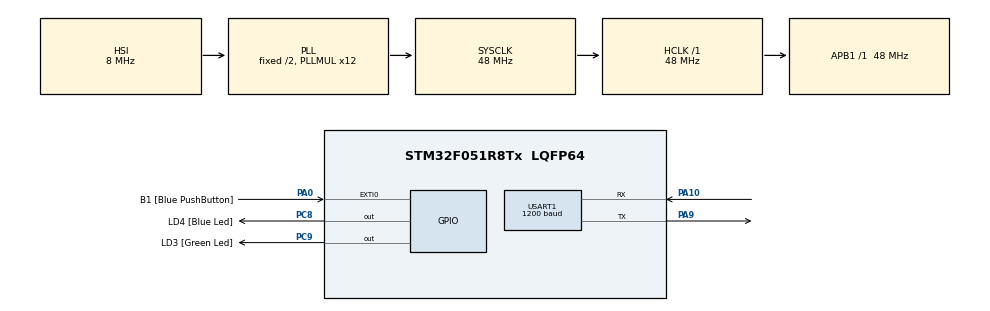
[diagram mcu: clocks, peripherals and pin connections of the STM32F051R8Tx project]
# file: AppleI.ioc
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Mcu.Family=STM32F0
Mcu.Name=STM32F051R8Tx
Mcu.Package=LQFP64
NVIC.USART1_IRQn=true\:0\:0\:false\:false\:true\:true\:true\:true
PA0.GPIO_Label=B1 [Blue PushButton]
PA0.GPIO_ModeDefaultEXTI=GPIO_MODE_EVT_RISING
PA0.Signal=GPXTI0
PA10.Mode=Asynchronous
PA10.Signal=USART1_RX
PA13.GPIO_Label=SWDIO
PA13.Mode=Serial_Wire
PA13.Signal=SYS_SWDIO
PA14.GPIO_Label=SWCLK
PA14.Mode=Serial_Wire
PA14.Signal=SYS_SWCLK
PA9.Mode=Asynchronous
PA9.Signal=USART1_TX
PC8.GPIO_Label=LD4 [Blue Led]
PC8.Signal=GPIO_Output
PC9.GPIO_Label=LD3 [Green Led]
PC9.Signal=GPIO_Output
ProjectManager.HeapSize=0x200
ProjectManager.StackSize=0x400
ProjectManager.TargetToolchain=STM32CubeIDE
RCC.AHBFreq_Value=48000000
RCC.APB1Freq_Value=48000000
RCC.APB1TimFreq_Value=48000000
RCC.HCLKFreq_Value=48000000
RCC.PLLMUL=RCC_PLL_MUL12
RCC.SYSCLKFreq_VALUE=48000000
RCC.SYSCLKSource=RCC_SYSCLKSOURCE_PLLCLK
USART1.BaudRate=1200
USART1.VirtualMode-Asynchronous=VM_ASYNC
board=STM32F0DISCOVERY

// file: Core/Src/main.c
/* USER CODE BEGIN Header */
/**
  ******************************************************************************
  * @file           : main.c
  * @brief          : Main program body
  ******************************************************************************
  * @attention
  *
  * Copyright (c) 2024 STMicroelectronics.
  * All rights reserved.
  *
  * This software is licensed under terms that can be found in the LICENSE file
  * in the root directory of this software component.
  * If no LICENSE file comes with this software, it is provided AS-IS.
  *
  ******************************************************************************
  */
/* USER CODE END Header */
#include "main.h"

/* USER CODE BEGIN PD */
#define ROM_BASE_ADDRESS 0xff00
#define RAM_SIZE 0x0c00//0x1000
#define BASIC_ROM_BASE_ADDRESS 0xe000
//#define BASIC_ROM_SIZE 4096

#define KBD_DATA_PORT_ADDRESS 0xd010
#define KBD_CONTROL_REGISTER_PORT_ADDRESS 0xd011
#define DSP_DATA_PORT_ADDRESS 0xd012
#define DSP_CONTROL_REGISTER_PORT_ADDRESS 0xd013

#define UART_RX_BUFFER_SIZE 1
#define CIRCULAR_BUFFER_SIZE 1024
/* USER CODE END PD */

UART_HandleTypeDef huart1;

/* USER CODE BEGIN PV */
// array size is 256
static const uint8_t hexMonitorRom[]  = {
  0xd8, 0x58, 0xa0, 0x7f, 0x8c, 0x12, 0xd0, 0xa9, 0xa7, 0x8d, 0x11, 0xd0, 0x8d, 0x13, 0xd0, 0xc9,
  0xdf, 0xf0, 0x13, 0xc9, 0x9b, 0xf0, 0x03, 0xc8, 0x10, 0x0f, 0xa9, 0xdc, 0x20, 0xef, 0xff, 0xa9,
  0x8d, 0x20, 0xef, 0xff, 0xa0, 0x01, 0x88, 0x30, 0xf6, 0xad, 0x11, 0xd0, 0x10, 0xfb, 0xad, 0x10,
  0xd0, 0x99, 0x00, 0x02, 0x20, 0xef, 0xff, 0xc9, 0x8d, 0xd0, 0xd4, 0xa0, 0xff, 0xa9, 0x00, 0xaa,
  0x0a, 0x85, 0x2b, 0xc8, 0xb9, 0x00, 0x02, 0xc9, 0x8d, 0xf0, 0xd4, 0xc9, 0xae, 0x90, 0xf4, 0xf0,
  0xf0, 0xc9, 0xba, 0xf0, 0xeb, 0xc9, 0xd2, 0xf0, 0x3b, 0x86, 0x28, 0x86, 0x29, 0x84, 0x2a, 0xb9,
  0x00, 0x02, 0x49, 0xb0, 0xc9, 0x0a, 0x90, 0x06, 0x69, 0x88, 0xc9, 0xfa, 0x90, 0x11, 0x0a, 0x0a,
  0x0a, 0x0a, 0xa2, 0x04, 0x0a, 0x26, 0x28, 0x26, 0x29, 0xca, 0xd0, 0xf8, 0xc8, 0xd0, 0xe0, 0xc4,
  0x2a, 0xf0, 0x97, 0x24, 0x2b, 0x50, 0x10, 0xa5, 0x28, 0x81, 0x26, 0xe6, 0x26, 0xd0, 0xb5, 0xe6,
  0x27, 0x4c, 0x44, 0xff, 0x6c, 0x24, 0x00, 0x30, 0x2b, 0xa2, 0x02, 0xb5, 0x27, 0x95, 0x25, 0x95,
  0x23, 0xca, 0xd0, 0xf7, 0xd0, 0x14, 0xa9, 0x8d, 0x20, 0xef, 0xff, 0xa5, 0x25, 0x20, 0xdc, 0xff,
  0xa5, 0x24, 0x20, 0xdc, 0xff, 0xa9, 0xba, 0x20, 0xef, 0xff, 0xa9, 0xa0, 0x20, 0xef, 0xff, 0xa1,
  0x24, 0x20, 0xdc, 0xff, 0x86, 0x2b, 0xa5, 0x24, 0xc5, 0x28, 0xa5, 0x25, 0xe5, 0x29, 0xb0, 0xc1,
  0xe6, 0x24, 0xd0, 0x02, 0xe6, 0x25, 0xa5, 0x24, 0x29, 0x07, 0x10, 0xc8, 0x48, 0x4a, 0x4a, 0x4a,
  0x4a, 0x20, 0xe5, 0xff, 0x68, 0x29, 0x0f, 0x09, 0xb0, 0xc9, 0xba, 0x90, 0x02, 0x69, 0x06, 0x2c,
  0x12, 0xd0, 0x30, 0xfb, 0x8d, 0x12, 0xd0, 0x60, 0x00, 0x00, 0x00, 0x0f, 0x00, 0xff, 0x00, 0x00
};
// array size is 4096
static const uint8_t basicRom[]  = {
  0x4c, 0xb0, 0xe2, 0xad, 0x11, 0xd0, 0x10, 0xfb, 0xad, 0x10, 0xd0, 0x60, 0x8a, 0x29, 0x20, 0xf0,
  0x23, 0xa9, 0xa0, 0x85, 0xe4, 0x4c, 0xc9, 0xe3, 0xa9, 0x20, 0xc5, 0x24, 0xb0, 0x0c, 0xa9, 0x8d,
  0xa0, 0x07, 0x20, 0xc9, 0xe3, 0xa9, 0xa0, 0x88, 0xd0, 0xf8, 0xa0, 0x00, 0xb1, 0xe2, 0xe6, 0xe2,
  0xd0, 0x02, 0xe6, 0xe3, 0x60, 0x20, 0x15, 0xe7, 0x20, 0x76, 0xe5, 0xa5, 0xe2, 0xc5, 0xe6, 0xa5,
  0xe3, 0xe5, 0xe7, 0xb0, 0xef, 0x20, 0x6d, 0xe0, 0x4c, 0x3b, 0xe0, 0xa5, 0xca, 0x85, 0xe2, 0xa5,
  0xcb, 0x85, 0xe3, 0xa5, 0x4c, 0x85, 0xe6, 0xa5, 0x4d, 0x85, 0xe7, 0xd0, 0xde, 0x20, 0x15, 0xe7,
  0x20, 0x6d, 0xe5, 0xa5, 0xe4, 0x85, 0xe2, 0xa5, 0xe5, 0x85, 0xe3, 0xb0, 0xc7, 0x86, 0xd8, 0xa9,
  0xa0, 0x85, 0xfa, 0x20, 0x2a, 0xe0, 0x98, 0x85, 0xe4, 0x20, 0x2a, 0xe0, 0xaa, 0x20, 0x2a, 0xe0,
  0x20, 0x1b, 0xe5, 0x20, 0x18, 0xe0, 0x84, 0xfa, 0xaa, 0x10, 0x18, 0x0a, 0x10, 0xe9, 0xa5, 0xe4,
  0xd0, 0x03, 0x20, 0x11, 0xe0, 0x8a, 0x20, 0xc9, 0xe3, 0xa9, 0x25, 0x20, 0x1a, 0xe0, 0xaa, 0x30,
  0xf5, 0x85, 0xe4, 0xc9, 0x01, 0xd0, 0x05, 0xa6, 0xd8, 0x4c, 0xcd, 0xe3, 0x48, 0x84, 0xce, 0xa2,
  0xed, 0x86, 0xcf, 0xc9, 0x51, 0x90, 0x04, 0xc6, 0xcf, 0xe9, 0x50, 0x48, 0xb1, 0xce, 0xaa, 0x88,
  0xb1, 0xce, 0x10, 0xfa, 0xe0, 0xc0, 0xb0, 0x04, 0xe0, 0x00, 0x30, 0xf2, 0xaa, 0x68, 0xe9, 0x01,
  0xd0, 0xe9, 0x24, 0xe4, 0x30, 0x03, 0x20, 0xf8, 0xef, 0xb1, 0xce, 0x10, 0x10, 0xaa, 0x29, 0x3f,
  0x85, 0xe4, 0x18, 0x69, 0xa0, 0x20, 0xc9, 0xe3, 0x88, 0xe0, 0xc0, 0x90, 0xec, 0x20, 0x0c, 0xe0,
  0x68, 0xc9, 0x5d, 0xf0, 0xa4, 0xc9, 0x28, 0xd0, 0x8a, 0xf0, 0x9e, 0x20, 0x18, 0xe1, 0x95, 0x50,
  0xd5, 0x78, 0x90, 0x11, 0xa0, 0x2b, 0x4c, 0xe0, 0xe3, 0x20, 0x34, 0xee, 0xd5, 0x50, 0x90, 0xf4,
  0x20, 0xe4, 0xef, 0x95, 0x78, 0x4c, 0x23, 0xe8, 0x20, 0x34, 0xee, 0xf0, 0xe7, 0x38, 0xe9, 0x01,
  0x60, 0x20, 0x18, 0xe1, 0x95, 0x50, 0x18, 0xf5, 0x78, 0x4c, 0x02, 0xe1, 0xa0, 0x14, 0xd0, 0xd6,
  0x20, 0x18, 0xe1, 0xe8, 0xb5, 0x50, 0x85, 0xda, 0x65, 0xce, 0x48, 0xa8, 0xb5, 0x78, 0x85, 0xdb,
  0x65, 0xcf, 0x48, 0xc4, 0xca, 0xe5, 0xcb, 0xb0, 0xe3, 0xa5, 0xda, 0x69, 0xfe, 0x85, 0xda, 0xa9,
  0xff, 0xa8, 0x65, 0xdb, 0x85, 0xdb, 0xc8, 0xb1, 0xda, 0xd9, 0xcc, 0x00, 0xd0, 0x0f, 0x98, 0xf0,
  0xf5, 0x68, 0x91, 0xda, 0x99, 0xcc, 0x00, 0x88, 0x10, 0xf7, 0xe8, 0x60, 0xea, 0xa0, 0x80, 0xd0,
  0x95, 0xa9, 0x00, 0x20, 0x0a, 0xe7, 0xa0, 0x02, 0x94, 0x78, 0x20, 0x0a, 0xe7, 0xa9, 0xbf, 0x20,
  0xc9, 0xe3, 0xa0, 0x00, 0x20, 0x9e, 0xe2, 0x94, 0x78, 0xea, 0xea, 0xea, 0xb5, 0x51, 0x85, 0xce,
  0xb5, 0x79, 0x85, 0xcf, 0xe8, 0xe8, 0x20, 0xbc, 0xe1, 0xb5, 0x4e, 0xd5, 0x76, 0xb0, 0x15, 0xf6,
  0x4e, 0xa8, 0xb1, 0xce, 0xb4, 0x50, 0xc4, 0xe4, 0x90, 0x04, 0xa0, 0x83, 0xd0, 0xc1, 0x91, 0xda,
  0xf6, 0x50, 0x90, 0xe5, 0xb4, 0x50, 0x8a, 0x91, 0xda, 0xe8, 0xe8, 0x60, 0xb5, 0x51, 0x85, 0xda,
  0x38, 0xe9, 0x02, 0x85, 0xe4, 0xb5, 0x79, 0x85, 0xdb, 0xe9, 0x00, 0x85, 0xe5, 0xa0, 0x00, 0xb1,
  0xe4, 0x18, 0xe5, 0xda, 0x85, 0xe4, 0x60, 0xb5, 0x53, 0x85, 0xce, 0xb5, 0x7b, 0x85, 0xcf, 0xb5,
  0x51, 0x85, 0xda, 0xb5, 0x79, 0x85, 0xdb, 0xe8, 0xe8, 0xe8, 0xa0, 0x00, 0x94, 0x78, 0x94, 0xa0,
  0xc8, 0x94, 0x50, 0xb5, 0x4d, 0xd5, 0x75, 0x08, 0x48, 0xb5, 0x4f, 0xd5, 0x77, 0x90, 0x07, 0x68,
  0x28, 0xb0, 0x02, 0x56, 0x50, 0x60, 0xa8, 0xb1, 0xce, 0x85, 0xe4, 0x68, 0xa8, 0x28, 0xb0, 0xf3,
  0xb1, 0xda, 0xc5, 0xe4, 0xd0, 0xed, 0xf6, 0x4f, 0xf6, 0x4d, 0xb0, 0xd7, 0x20, 0xd7, 0xe1, 0x4c,
  0x36, 0xe7, 0x20, 0x54, 0xe2, 0x06, 0xce, 0x26, 0xcf, 0x90, 0x0d, 0x18, 0xa5, 0xe6, 0x65, 0xda,
  0x85, 0xe6, 0xa5, 0xe7, 0x65, 0xdb, 0x85, 0xe7, 0x88, 0xf0, 0x09, 0x06, 0xe6, 0x26, 0xe7, 0x10,
  0xe4, 0x4c, 0x7e, 0xe7, 0xa5, 0xe6, 0x20, 0x08, 0xe7, 0xa5, 0xe7, 0x95, 0xa0, 0x06, 0xe5, 0x90,
  0x28, 0x4c, 0x6f, 0xe7, 0xa9, 0x55, 0x85, 0xe5, 0x20, 0x5b, 0xe2, 0xa5, 0xce, 0x85, 0xda, 0xa5,
  0xcf, 0x85, 0xdb, 0x20, 0x15, 0xe7, 0x84, 0xe6, 0x84, 0xe7, 0xa5, 0xcf, 0x10, 0x09, 0xca, 0x06,
  0xe5, 0x20, 0x6f, 0xe7, 0x20, 0x15, 0xe7, 0xa0, 0x10, 0x60, 0x20, 0x6c, 0xee, 0xf0, 0xc5, 0xff,
  0xc9, 0x84, 0xd0, 0x02, 0x46, 0xf8, 0xc9, 0xdf, 0xf0, 0x11, 0xc9, 0x9b, 0xf0, 0x06, 0x99, 0x00,
  0x02, 0xc8, 0x10, 0x0a, 0xa0, 0x8b, 0x20, 0xc4, 0xe3, 0xa0, 0x01, 0x88, 0x30, 0xf6, 0x20, 0x03,
  0xe0, 0xea, 0xea, 0x20, 0xc9, 0xe3, 0xc9, 0x8d, 0xd0, 0xd6, 0xa9, 0xdf, 0x99, 0x00, 0x02, 0x60,
  0x20, 0xd3, 0xef, 0x20, 0xcd, 0xe3, 0x46, 0xd9, 0xa9, 0xbe, 0x20, 0xc9, 0xe3, 0xa0, 0x00, 0x84,
  0xfa, 0x24, 0xf8, 0x10, 0x0c, 0xa6, 0xf6, 0xa5, 0xf7, 0x20, 0x1b, 0xe5, 0xa9, 0xa0, 0x20, 0xc9,
  0xe3, 0xa2, 0xff, 0x9a, 0x20, 0x9e, 0xe2, 0x84, 0xf1, 0x8a, 0x85, 0xc8, 0xa2, 0x20, 0x20, 0x91,
  0xe4, 0xa5, 0xc8, 0x69, 0x00, 0x85, 0xe0, 0xa9, 0x00, 0xaa, 0x69, 0x02, 0x85, 0xe1, 0xa1, 0xe0,
  0x29, 0xf0, 0xc9, 0xb0, 0xf0, 0x03, 0x4c, 0x83, 0xe8, 0xa0, 0x02, 0xb1, 0xe0, 0x99, 0xcd, 0x00,
  0x88, 0xd0, 0xf8, 0x20, 0x8a, 0xe3, 0xa5, 0xf1, 0xe5, 0xc8, 0xc9, 0x04, 0xf0, 0xa8, 0x91, 0xe0,
  0xa5, 0xca, 0xf1, 0xe0, 0x85, 0xe4, 0xa5, 0xcb, 0xe9, 0x00, 0x85, 0xe5, 0xa5, 0xe4, 0xc5, 0xcc,
  0xa5, 0xe5, 0xe5, 0xcd, 0x90, 0x45, 0xa5, 0xca, 0xf1, 0xe0, 0x85, 0xe6, 0xa5, 0xcb, 0xe9, 0x00,
  0x85, 0xe7, 0xb1, 0xca, 0x91, 0xe6, 0xe6, 0xca, 0xd0, 0x02, 0xe6, 0xcb, 0xa5, 0xe2, 0xc5, 0xca,
  0xa5, 0xe3, 0xe5, 0xcb, 0xb0, 0xe0, 0xb5, 0xe4, 0x95, 0xca, 0xca, 0x10, 0xf9, 0xb1, 0xe0, 0xa8,
  0x88, 0xb1, 0xe0, 0x91, 0xe6, 0x98, 0xd0, 0xf8, 0x24, 0xf8, 0x10, 0x09, 0xb5, 0xf7, 0x75, 0xf5,
  0x95, 0xf7, 0xe8, 0xf0, 0xf7, 0x10, 0x7e, 0x00, 0x00, 0x00, 0x00, 0xa0, 0x14, 0xd0, 0x71, 0x20,
  0x15, 0xe7, 0xa5, 0xe2, 0x85, 0xe6, 0xa5, 0xe3, 0x85, 0xe7, 0x20, 0x75, 0xe5, 0xa5, 0xe2, 0x85,
  0xe4, 0xa5, 0xe3, 0x85, 0xe5, 0xd0, 0x0e, 0x20, 0x15, 0xe7, 0x20, 0x6d, 0xe5, 0xa5, 0xe6, 0x85,
  0xe2, 0xa5, 0xe7, 0x85, 0xe3, 0xa0, 0x00, 0xa5, 0xca, 0xc5, 0xe4, 0xa5, 0xcb, 0xe5, 0xe5, 0xb0,
  0x16, 0xa5, 0xe4, 0xd0, 0x02, 0xc6, 0xe5, 0xc6, 0xe4, 0xa5, 0xe6, 0xd0, 0x02, 0xc6, 0xe7, 0xc6,
  0xe6, 0xb1, 0xe4, 0x91, 0xe6, 0x90, 0xe0, 0xa5, 0xe6, 0x85, 0xca, 0xa5, 0xe7, 0x85, 0xcb, 0x60,
  0x20, 0xc9, 0xe3, 0xc8, 0xb9, 0x00, 0xeb, 0x30, 0xf7, 0xc9, 0x8d, 0xd0, 0x06, 0xa9, 0x00, 0x85,
  0x24, 0xa9, 0x8d, 0xe6, 0x24, 0x2c, 0x12, 0xd0, 0x30, 0xfb, 0x8d, 0x12, 0xd0, 0x60, 0xa0, 0x06,
  0x20, 0xd3, 0xee, 0x24, 0xd9, 0x30, 0x03, 0x4c, 0xb6, 0xe2, 0x4c, 0x9a, 0xeb, 0x2a, 0x69, 0xa0,
  0xdd, 0x00, 0x02, 0xd0, 0x53, 0xb1, 0xfe, 0x0a, 0x30, 0x06, 0x88, 0xb1, 0xfe, 0x30, 0x29, 0xc8,
  0x86, 0xc8, 0x98, 0x48, 0xa2, 0x00, 0xa1, 0xfe, 0xaa, 0x4a, 0x49, 0x48, 0x11, 0xfe, 0xc9, 0xc0,
  0x90, 0x01, 0xe8, 0xc8, 0xd0, 0xf3, 0x68, 0xa8, 0x8a, 0x4c, 0xc0, 0xe4, 0xe6, 0xf1, 0xa6, 0xf1,
  0xf0, 0xbc, 0x9d, 0x00, 0x02, 0x60, 0xa6, 0xc8, 0xa9, 0xa0, 0xe8, 0xdd, 0x00, 0x02, 0xb0, 0xfa,
  0xb1, 0xfe, 0x29, 0x3f, 0x4a, 0xd0, 0xb6, 0xbd, 0x00, 0x02, 0xb0, 0x06, 0x69, 0x3f, 0xc9, 0x1a,
  0x90, 0x6f, 0x69, 0x4f, 0xc9, 0x0a, 0x90, 0x69, 0xa6, 0xfd, 0xc8, 0xb1, 0xfe, 0x29, 0xe0, 0xc9,
  0x20, 0xf0, 0x7a, 0xb5, 0xa8, 0x85, 0xc8, 0xb5, 0xd1, 0x85, 0xf1, 0x88, 0xb1, 0xfe, 0x0a, 0x10,
  0xfa, 0x88, 0xb0, 0x38, 0x0a, 0x30, 0x35, 0xb4, 0x58, 0x84, 0xff, 0xb4, 0x80, 0xe8, 0x10, 0xda,
  0xf0, 0xb3, 0xc9, 0x7e, 0xb0, 0x22, 0xca, 0x10, 0x04, 0xa0, 0x06, 0x10, 0x29, 0x94, 0x80, 0xa4,
  0xff, 0x94, 0x58, 0xa4, 0xc8, 0x94, 0xa8, 0xa4, 0xf1, 0x94, 0xd1, 0x29, 0x1f, 0xa8, 0xb9, 0x20,
  0xec, 0x0a, 0xa8, 0xa9, 0x76, 0x2a, 0x85, 0xff, 0xd0, 0x01, 0xc8, 0xc8, 0x86, 0xfd, 0xb1, 0xfe,
  0x30, 0x84, 0xd0, 0x05, 0xa0, 0x0e, 0x4c, 0xe0, 0xe3, 0xc9, 0x03, 0xb0, 0xc3, 0x4a, 0xa6, 0xc8,
  0xe8, 0xbd, 0x00, 0x02, 0x90, 0x04, 0xc9, 0xa2, 0xf0, 0x0a, 0xc9, 0xdf, 0xf0, 0x06, 0x86, 0xc8,
  0x20, 0x1c, 0xe4, 0xc8, 0x88, 0xa6, 0xfd, 0xb1, 0xfe, 0x88, 0x0a, 0x10, 0xcf, 0xb4, 0x58, 0x84,
  0xff, 0xb4, 0x80, 0xe8, 0xb1, 0xfe, 0x29, 0x9f, 0xd0, 0xed, 0x85, 0xf2, 0x85, 0xf3, 0x98, 0x48,
  0x86, 0xfd, 0xb4, 0xd0, 0x84, 0xc9, 0x18, 0xa9, 0x0a, 0x85, 0xf9, 0xa2, 0x00, 0xc8, 0xb9, 0x00,
  0x02, 0x29, 0x0f, 0x65, 0xf2, 0x48, 0x8a, 0x65, 0xf3, 0x30, 0x1c, 0xaa, 0x68, 0xc6, 0xf9, 0xd0,
  0xf2, 0x85, 0xf2, 0x86, 0xf3, 0xc4, 0xf1, 0xd0, 0xde, 0xa4, 0xc9, 0xc8, 0x84, 0xf1, 0x20, 0x1c,
  0xe4, 0x68, 0xa8, 0xa5, 0xf3, 0xb0, 0xa9, 0xa0, 0x00, 0x10, 0x8b, 0x85, 0xf3, 0x86, 0xf2, 0xa2,
  0x04, 0x86, 0xc9, 0xa9, 0xb0, 0x85, 0xf9, 0xa5, 0xf2, 0xdd, 0x63, 0xe5, 0xa5, 0xf3, 0xfd, 0x68,
  0xe5, 0x90, 0x0d, 0x85, 0xf3, 0xa5, 0xf2, 0xfd, 0x63, 0xe5, 0x85, 0xf2, 0xe6, 0xf9, 0xd0, 0xe7,
  0xa5, 0xf9, 0xe8, 0xca, 0xf0, 0x0e, 0xc9, 0xb0, 0xf0, 0x02, 0x85, 0xc9, 0x24, 0xc9, 0x30, 0x04,
  0xa5, 0xfa, 0xf0, 0x0b, 0x20, 0xc9, 0xe3, 0x24, 0xf8, 0x10, 0x04, 0x99, 0x00, 0x02, 0xc8, 0xca,
  0x10, 0xc1, 0x60, 0x01, 0x0a, 0x64, 0xe8, 0x10, 0x00, 0x00, 0x00, 0x03, 0x27, 0xa5, 0xca, 0x85,
  0xe6, 0xa5, 0xcb, 0x85, 0xe7, 0xe8, 0xa5, 0xe7, 0x85, 0xe5, 0xa5, 0xe6, 0x85, 0xe4, 0xc5, 0x4c,
  0xa5, 0xe5, 0xe5, 0x4d, 0xb0, 0x26, 0xa0, 0x01, 0xb1, 0xe4, 0xe5, 0xce, 0xc8, 0xb1, 0xe4, 0xe5,
  0xcf, 0xb0, 0x19, 0xa0, 0x00, 0xa5, 0xe6, 0x71, 0xe4, 0x85, 0xe6, 0x90, 0x03, 0xe6, 0xe7, 0x18,
  0xc8, 0xa5, 0xce, 0xf1, 0xe4, 0xc8, 0xa5, 0xcf, 0xf1, 0xe4, 0xb0, 0xca, 0x60, 0x46, 0xf8, 0xa5,
  0x4c, 0x85, 0xca, 0xa5, 0x4d, 0x85, 0xcb, 0xa5, 0x4a, 0x85, 0xcc, 0xa5, 0x4b, 0x85, 0xcd, 0xa9,
  0x00, 0x85, 0xfb, 0x85, 0xfc, 0x85, 0xfe, 0xa9, 0x00, 0x85, 0x1d, 0x60, 0xa5, 0xd0, 0x69, 0x05,
  0x85, 0xd2, 0xa5, 0xd1, 0x69, 0x00, 0x85, 0xd3, 0xa5, 0xd2, 0xc5, 0xca, 0xa5, 0xd3, 0xe5, 0xcb,
  0x90, 0x03, 0x4c, 0x6b, 0xe3, 0xa5, 0xce, 0x91, 0xd0, 0xa5, 0xcf, 0xc8, 0x91, 0xd0, 0xa5, 0xd2,
  0xc8, 0x91, 0xd0, 0xa5, 0xd3, 0xc8, 0x91, 0xd0, 0xa9, 0x00, 0xc8, 0x91, 0xd0, 0xc8, 0x91, 0xd0,
  0xa5, 0xd2, 0x85, 0xcc, 0xa5, 0xd3, 0x85, 0xcd, 0xa5, 0xd0, 0x90, 0x43, 0x85, 0xce, 0x84, 0xcf,
  0x20, 0xff, 0xe6, 0x30, 0x0e, 0xc9, 0x40, 0xf0, 0x0a, 0x4c, 0x28, 0xe6, 0x06, 0xc9, 0x49, 0xd0,
  0x07, 0xa9, 0x49, 0x85, 0xcf, 0x20, 0xff, 0xe6, 0xa5, 0x4b, 0x85, 0xd1, 0xa5, 0x4a, 0x85, 0xd0,
  0xc5, 0xcc, 0xa5, 0xd1, 0xe5, 0xcd, 0xb0, 0x94, 0xb1, 0xd0, 0xc8, 0xc5, 0xce, 0xd0, 0x06, 0xb1,
  0xd0, 0xc5, 0xcf, 0xf0, 0x0e, 0xc8, 0xb1, 0xd0, 0x48, 0xc8, 0xb1, 0xd0, 0x85, 0xd1, 0x68, 0xa0,
  0x00, 0xf0, 0xdb, 0xa5, 0xd0, 0x69, 0x03, 0x20, 0x0a, 0xe7, 0xa5, 0xd1, 0x69, 0x00, 0x95, 0x78,
  0xa5, 0xcf, 0xc9, 0x40, 0xd0, 0x1c, 0x88, 0x98, 0x20, 0x0a, 0xe7, 0x88, 0x94, 0x78, 0xa0, 0x03,
  0xf6, 0x78, 0xc8, 0xb1, 0xd0, 0x30, 0xf9, 0x10, 0x09, 0xa9, 0x00, 0x85, 0xd4, 0x85, 0xd5, 0xa2,
  0x20, 0x48, 0xa0, 0x00, 0xb1, 0xe0, 0x10, 0x18, 0x0a, 0x30, 0x81, 0x20, 0xff, 0xe6, 0x20, 0x08,
  0xe7, 0x20, 0xff, 0xe6, 0x95, 0xa0, 0x24, 0xd4, 0x10, 0x01, 0xca, 0x20, 0xff, 0xe6, 0xb0, 0xe6,
  0xc9, 0x28, 0xd0, 0x1f, 0xa5, 0xe0, 0x20, 0x0a, 0xe7, 0xa5, 0xe1, 0x95, 0x78, 0x24, 0xd4, 0x30,
  0x0b, 0xa9, 0x01, 0x20, 0x0a, 0xe7, 0xa9, 0x00, 0x95, 0x78, 0xf6, 0x78, 0x20, 0xff, 0xe6, 0x30,
  0xf9, 0xb0, 0xd3, 0x24, 0xd4, 0x10, 0x06, 0xc9, 0x04, 0xb0, 0xd0, 0x46, 0xd4, 0xa8, 0x85, 0xd6,
  0xb9, 0x98, 0xe9, 0x29, 0x55, 0x0a, 0x85, 0xd7, 0x68, 0xa8, 0xb9, 0x98, 0xe9, 0x29, 0xaa, 0xc5,
  0xd7, 0xb0, 0x09, 0x98, 0x48, 0x20, 0xff, 0xe6, 0xa5, 0xd6, 0x90, 0x95, 0xb9, 0x10, 0xea, 0x85,
  0xce, 0xb9, 0x88, 0xea, 0x85, 0xcf, 0x20, 0xfc, 0xe6, 0x4c, 0xd8, 0xe6, 0x6c, 0xce, 0x00, 0xe6,
  0xe0, 0xd0, 0x02, 0xe6, 0xe1, 0xb1, 0xe0, 0x60, 0x94, 0x77, 0xca, 0x30, 0x03, 0x95, 0x50, 0x60,
  0xa0, 0x66, 0x4c, 0xe0, 0xe3, 0xa0, 0x00, 0xb5, 0x50, 0x85, 0xce, 0xb5, 0xa0, 0x85, 0xcf, 0xb5,
  0x78, 0xf0, 0x0e, 0x85, 0xcf, 0xb1, 0xce, 0x48, 0xc8, 0xb1, 0xce, 0x85, 0xcf, 0x68, 0x85, 0xce,
  0x88, 0xe8, 0x60, 0x20, 0x4a, 0xe7, 0x20, 0x15, 0xe7, 0x98, 0x20, 0x08, 0xe7, 0x95, 0xa0, 0xc5,
  0xce, 0xd0, 0x06, 0xc5, 0xcf, 0xd0, 0x02, 0xf6, 0x50, 0x60, 0x20, 0x82, 0xe7, 0x20, 0x59, 0xe7,
  0x20, 0x15, 0xe7, 0x24, 0xcf, 0x30, 0x1b, 0xca, 0x60, 0x20, 0x15, 0xe7, 0xa5, 0xcf, 0xd0, 0x04,
  0xa5, 0xce, 0xf0, 0xf3, 0xa9, 0xff, 0x20, 0x08, 0xe7, 0x95, 0xa0, 0x24, 0xcf, 0x30, 0xe9, 0x20,
  0x15, 0xe7, 0x98, 0x38, 0xe5, 0xce, 0x20, 0x08, 0xe7, 0x98, 0xe5, 0xcf, 0x50, 0x23, 0xa0, 0x00,
  0x10, 0x90, 0x20, 0x6f, 0xe7, 0x20, 0x15, 0xe7, 0xa5, 0xce, 0x85, 0xda, 0xa5, 0xcf, 0x85, 0xdb,
  0x20, 0x15, 0xe7, 0x18, 0xa5, 0xce, 0x65, 0xda, 0x20, 0x08, 0xe7, 0xa5, 0xcf, 0x65, 0xdb, 0x70,
  0xdd, 0x95, 0xa0, 0x60, 0x20, 0x15, 0xe7, 0xa4, 0xce, 0xf0, 0x05, 0x88, 0xa5, 0xcf, 0xf0, 0x0c,
  0x60, 0xa5, 0x24, 0x09, 0x07, 0xa8, 0xc8, 0xa9, 0xa0, 0x20, 0xc9, 0xe3, 0xc4, 0x24, 0xb0, 0xf7,
  0x60, 0x20, 0xb1, 0xe7, 0x20, 0x15, 0xe7, 0xa5, 0xcf, 0x10, 0x0a, 0xa9, 0xad, 0x20, 0xc9, 0xe3,
  0x20, 0x72, 0xe7, 0x50, 0xef, 0x88, 0x84, 0xd5, 0x86, 0xcf, 0xa6, 0xce, 0x20, 0x1b, 0xe5, 0xa6,
  0xcf, 0x60, 0x20, 0x15, 0xe7, 0xa5, 0xce, 0x85, 0xf6, 0xa5, 0xcf, 0x85, 0xf7, 0x88, 0x84, 0xf8,
  0xc8, 0xa9, 0x0a, 0x85, 0xf4, 0x84, 0xf5, 0x60, 0x20, 0x15, 0xe7, 0xa5, 0xce, 0xa4, 0xcf, 0x10,
  0xf2, 0x20, 0x15, 0xe7, 0xb5, 0x50, 0x85, 0xda, 0xb5, 0x78, 0x85, 0xdb, 0xa5, 0xce, 0x91, 0xda,
  0xc8, 0xa5, 0xcf, 0x91, 0xda, 0xe8, 0x60, 0x68, 0x68, 0x24, 0xd5, 0x10, 0x05, 0x20, 0xcd, 0xe3,
  0x46, 0xd5, 0x60, 0xa0, 0xff, 0x84, 0xd7, 0x60, 0x20, 0xcd, 0xef, 0xf0, 0x07, 0xa9, 0x25, 0x85,
  0xd6, 0x88, 0x84, 0xd4, 0xe8, 0x60, 0xa5, 0xca, 0xa4, 0xcb, 0xd0, 0x5a, 0xa0, 0x41, 0xa5, 0xfc,
  0xc9, 0x08, 0xb0, 0x5e, 0xa8, 0xe6, 0xfc, 0xa5, 0xe0, 0x99, 0x00, 0x01, 0xa5, 0xe1, 0x99, 0x08,
  0x01, 0xa5, 0xdc, 0x99, 0x10, 0x01, 0xa5, 0xdd, 0x99, 0x18, 0x01, 0x20, 0x15, 0xe7, 0x20, 0x6d,
  0xe5, 0x90, 0x04, 0xa0, 0x37, 0xd0, 0x3b, 0xa5, 0xe4, 0xa4, 0xe5, 0x85, 0xdc, 0x84, 0xdd, 0x2c,
  0x11, 0xd0, 0x30, 0x4f, 0x18, 0x69, 0x03, 0x90, 0x01, 0xc8, 0xa2, 0xff, 0x86, 0xd9, 0x9a, 0x85,
  0xe0, 0x84, 0xe1, 0x20, 0x79, 0xe6, 0x24, 0xd9, 0x10, 0x49, 0x18, 0xa0, 0x00, 0xa5, 0xdc, 0x71,
  0xdc, 0xa4, 0xdd, 0x90, 0x01, 0xc8, 0xc5, 0x4c, 0xd0, 0xd1, 0xc4, 0x4d, 0xd0, 0xcd, 0xa0, 0x34,
  0x46, 0xd9, 0x4c, 0xe0, 0xe3, 0xa0, 0x4a, 0xa5, 0xfc, 0xf0, 0xf7, 0xc6, 0xfc, 0xa8, 0xb9, 0x0f,
  0x01, 0x85, 0xdc, 0xb9, 0x17, 0x01, 0x85, 0xdd, 0xbe, 0xff, 0x00, 0xb9, 0x07, 0x01, 0xa8, 0x8a,
  0x4c, 0x7a, 0xe8, 0xa0, 0x63, 0x20, 0xc4, 0xe3, 0xa0, 0x01, 0xb1, 0xdc, 0xaa, 0xc8, 0xb1, 0xdc,
  0x20, 0x1b, 0xe5, 0x4c, 0xb3, 0xe2, 0xc6, 0xfb, 0xa0, 0x5b, 0xa5, 0xfb, 0xf0, 0xc4, 0xa8, 0xb5,
  0x50, 0xd9, 0x1f, 0x01, 0xd0, 0xf0, 0xb5, 0x78, 0xd9, 0x27, 0x01, 0xd0, 0xe9, 0xb9, 0x2f, 0x01,
  0x85, 0xda, 0xb9, 0x37, 0x01, 0x85, 0xdb, 0x20, 0x15, 0xe7, 0xca, 0x20, 0x93, 0xe7, 0x20, 0x01,
  0xe8, 0xca, 0xa4, 0xfb, 0xb9, 0x67, 0x01, 0x95, 0x9f, 0xb9, 0x5f, 0x01, 0xa0, 0x00, 0x20, 0x08,
  0xe7, 0x20, 0x82, 0xe7, 0x20, 0x59, 0xe7, 0x20, 0x15, 0xe7, 0xa4, 0xfb, 0xa5, 0xce, 0xf0, 0x05,
  0x59, 0x37, 0x01, 0x10, 0x12, 0xb9, 0x3f, 0x01, 0x85, 0xdc, 0xb9, 0x47, 0x01, 0x85, 0xdd, 0xbe,
  0x4f, 0x01, 0xb9, 0x57, 0x01, 0xd0, 0x87, 0xc6, 0xfb, 0x60, 0xa0, 0x54, 0xa5, 0xfb, 0xc9, 0x08,
  0xf0, 0x9a, 0xe6, 0xfb, 0xa8, 0xb5, 0x50, 0x99, 0x20, 0x01, 0xb5, 0x78, 0x99, 0x28, 0x01, 0x60,
  0x20, 0x15, 0xe7, 0xa4, 0xfb, 0xa5, 0xce, 0x99, 0x5f, 0x01, 0xa5, 0xcf, 0x99, 0x67, 0x01, 0xa9,
  0x01, 0x99, 0x2f, 0x01, 0xa9, 0x00, 0x99, 0x37, 0x01, 0xa5, 0xdc, 0x99, 0x3f, 0x01, 0xa5, 0xdd,
  0x99, 0x47, 0x01, 0xa5, 0xe0, 0x99, 0x4f, 0x01, 0xa5, 0xe1, 0x99, 0x57, 0x01, 0x60, 0x20, 0x15,
  0xe7, 0xa4, 0xfb, 0xa5, 0xce, 0x99, 0x2f, 0x01, 0xa5, 0xcf, 0x4c, 0x66, 0xe9, 0x00, 0x00, 0x00,
  0x00, 0x00, 0x00, 0x00, 0x00, 0x00, 0x00, 0x00, 0x00, 0x00, 0x00, 0xab, 0x03, 0x03, 0x03, 0x03,
  0x03, 0x03, 0x03, 0x03, 0x03, 0x03, 0x03, 0x03, 0x03, 0x03, 0x3f, 0x3f, 0xc0, 0xc0, 0x3c, 0x3c,
  0x3c, 0x3c, 0x3c, 0x3c, 0x3c, 0x30, 0x0f, 0xc0, 0xcc, 0xff, 0x55, 0x00, 0xab, 0xab, 0x03, 0x03,
  0xff, 0xff, 0x55, 0xff, 0xff, 0x55, 0xcf, 0xcf, 0xcf, 0xcf, 0xcf, 0xff, 0x55, 0xc3, 0xc3, 0xc3,
  0x55, 0xf0, 0xf0, 0xcf, 0x56, 0x56, 0x56, 0x55, 0xff, 0xff, 0x55, 0x03, 0x03, 0x03, 0x03, 0x03,
  0x03, 0x03, 0xff, 0xff, 0xff, 0x03, 0x03, 0x03, 0x03, 0x03, 0x03, 0x03, 0x03, 0x03, 0x03, 0x03,
  0x03, 0x03, 0x03, 0x03, 0x03, 0x00, 0xab, 0x03, 0x57, 0x03, 0x03, 0x03, 0x03, 0x07, 0x03, 0x03,
  0x03, 0x03, 0x03, 0x03, 0x03, 0x03, 0x03, 0x03, 0x03, 0x03, 0xaa, 0xff, 0xff, 0xff, 0xff, 0xff,
  0x17, 0xff, 0xff, 0x19, 0x5d, 0x35, 0x4b, 0xf2, 0xec, 0x87, 0x6f, 0xad, 0xb7, 0xe2, 0xf8, 0x54,
  0x80, 0x96, 0x85, 0x82, 0x22, 0x10, 0x33, 0x4a, 0x13, 0x06, 0x0b, 0x4a, 0x01, 0x40, 0x47, 0x7a,
  0x00, 0xff, 0x23, 0x09, 0x5b, 0x16, 0xb6, 0xcb, 0xff, 0xff, 0xfb, 0xff, 0xff, 0x24, 0xf6, 0x4e,
  0x59, 0x50, 0x00, 0xff, 0x23, 0xa3, 0x6f, 0x36, 0x23, 0xd7, 0x1c, 0x22, 0xc2, 0xae, 0xba, 0x23,
  0xff, 0xff, 0x21, 0x30, 0x1e, 0x03, 0xc4, 0x20, 0x00, 0xc1, 0xff, 0xff, 0xff, 0xa0, 0x30, 0x1e,
  0xa4, 0xd3, 0xb6, 0xbc, 0xaa, 0x3a, 0x01, 0x50, 0x7e, 0xd8, 0xd8, 0xa5, 0x3c, 0xff, 0x16, 0x5b,
  0x28, 0x03, 0xc4, 0x1d, 0x00, 0x0c, 0x4e, 0x00, 0x3e, 0x00, 0xa6, 0xb0, 0x00, 0xbc, 0xc6, 0x57,
  0x8c, 0x01, 0x27, 0xff, 0xff, 0xff, 0xff, 0xff, 0xe8, 0xff, 0xff, 0xe8, 0xe0, 0xe0, 0xe0, 0xef,
  0xef, 0xe3, 0xe3, 0xe5, 0xe5, 0xe7, 0xe7, 0xee, 0xef, 0xef, 0xe7, 0xe7, 0xe2, 0xef, 0xe7, 0xe7,
  0xec, 0xec, 0xec, 0xe7, 0xec, 0xec, 0xec, 0xe2, 0x00, 0xff, 0xe8, 0xe1, 0xe8, 0xe8, 0xef, 0xeb,
  0xff, 0xff, 0xe0, 0xff, 0xff, 0xef, 0xee, 0xef, 0xe7, 0xe7, 0x00, 0xff, 0xe8, 0xe7, 0xe7, 0xe7,
  0xe8, 0xe1, 0xe2, 0xee, 0xee, 0xee, 0xee, 0xe8, 0xff, 0xff, 0xe1, 0xe1, 0xef, 0xee, 0xe7, 0xe8,
  0xee, 0xe7, 0xff, 0xff, 0xff, 0xee, 0xe1, 0xef, 0xe7, 0xe8, 0xef, 0xef, 0xeb, 0xe9, 0xe8, 0xe9,
  0xe9, 0xe8, 0xe8, 0xe8, 0xe8, 0xff, 0xe8, 0xe8, 0xe8, 0xee, 0xe7, 0xe8, 0xef, 0xef, 0xee, 0xef,
  0xee, 0xef, 0xee, 0xee, 0xef, 0xee, 0xee, 0xee, 0xe1, 0xe8, 0xe8, 0xff, 0xff, 0xff, 0xff, 0xff,
  0xbe, 0xb3, 0xb2, 0xb7, 0xb6, 0x37, 0xd4, 0xcf, 0xcf, 0xa0, 0xcc, 0xcf, 0xce, 0x47, 0xd3, 0xd9,
  0xce, 0xd4, 0xc1, 0x58, 0xcd, 0xc5, 0xcd, 0xa0, 0xc6, 0xd5, 0xcc, 0x4c, 0xd4, 0xcf, 0xcf, 0xa0,
  0xcd, 0xc1, 0xce, 0xd9, 0xa0, 0xd0, 0xc1, 0xd2, 0xc5, 0xce, 0x53, 0xd3, 0xd4, 0xd2, 0xc9, 0xce,
  0x47, 0xce, 0xcf, 0xa0, 0xc5, 0xce, 0x44, 0xc2, 0xc1, 0xc4, 0xa0, 0xc2, 0xd2, 0xc1, 0xce, 0xc3,
  0x48, 0xbe, 0xb8, 0xa0, 0xc7, 0xcf, 0xd3, 0xd5, 0xc2, 0x53, 0xc2, 0xc1, 0xc4, 0xa0, 0xd2, 0xc5,
  0xd4, 0xd5, 0xd2, 0x4e, 0xbe, 0xb8, 0xa0, 0xc6, 0xcf, 0xd2, 0x53, 0xc2, 0xc1, 0xc4, 0xa0, 0xce,
  0xc5, 0xd8, 0x54, 0xd3, 0xd4, 0xcf, 0xd0, 0xd0, 0xc5, 0xc4, 0xa0, 0xc1, 0xd4, 0x20, 0xaa, 0xaa,
  0xaa, 0x20, 0xa0, 0xc5, 0xd2, 0xd2, 0x0d, 0xbe, 0xb2, 0xb5, 0x35, 0xd2, 0xc1, 0xce, 0xc7, 0x45,
  0xc4, 0xc9, 0x4d, 0xd3, 0xd4, 0xd2, 0xa0, 0xcf, 0xd6, 0xc6, 0x4c, 0xdc, 0x0d, 0xd2, 0xc5, 0xd4,
  0xd9, 0xd0, 0xc5, 0xa0, 0xcc, 0xc9, 0xce, 0xc5, 0x8d, 0x3f, 0x46, 0xd9, 0x90, 0x03, 0x4c, 0xc3,
  0xe8, 0xa6, 0xcf, 0x9a, 0xa6, 0xce, 0xa0, 0x8d, 0xd0, 0x02, 0xa0, 0x99, 0x20, 0xc4, 0xe3, 0x86,
  0xce, 0xba, 0x86, 0xcf, 0xa0, 0xfe, 0x84, 0xd9, 0xc8, 0x84, 0xc8, 0x20, 0x99, 0xe2, 0x84, 0xf1,
  0xa2, 0x20, 0xa9, 0x30, 0x20, 0x91, 0xe4, 0xe6, 0xd9, 0xa6, 0xce, 0xa4, 0xc8, 0x0a, 0x85, 0xce,
  0xc8, 0xb9, 0x00, 0x02, 0xc9, 0x74, 0xf0, 0xd2, 0x49, 0xb0, 0xc9, 0x0a, 0xb0, 0xf0, 0xc8, 0xc8,
  0x84, 0xc8, 0xb9, 0x00, 0x02, 0x48, 0xb9, 0xff, 0x01, 0xa0, 0x00, 0x20, 0x08, 0xe7, 0x68, 0x95,
  0xa0, 0xa5, 0xce, 0xc9, 0xc7, 0xd0, 0x03, 0x20, 0x6f, 0xe7, 0x4c, 0x01, 0xe8, 0xff, 0xff, 0xff,
  0x50, 0x20, 0x13, 0xec, 0xd0, 0x15, 0x20, 0x0b, 0xec, 0xd0, 0x10, 0x20, 0x82, 0xe7, 0x20, 0x6f,
  0xe7, 0x50, 0x03, 0x20, 0x82, 0xe7, 0x20, 0x59, 0xe7, 0x56, 0x50, 0x4c, 0x36, 0xe7, 0xff, 0xff,
  0xc1, 0xff, 0x7f, 0xd1, 0xcc, 0xc7, 0xcf, 0xce, 0xc5, 0x9a, 0x98, 0x8b, 0x96, 0x95, 0x93, 0xbf,
  0xb2, 0x32, 0x2d, 0x2b, 0xbc, 0xb0, 0xac, 0xbe, 0x35, 0x8e, 0x61, 0xff, 0xff, 0xff, 0xdd, 0xfb,
  0x20, 0xc9, 0xef, 0x15, 0x4f, 0x10, 0x05, 0x20, 0xc9, 0xef, 0x35, 0x4f, 0x95, 0x50, 0x10, 0xcb,
  0x4c, 0xc9, 0xef, 0x40, 0x60, 0x8d, 0x60, 0x8b, 0x00, 0x7e, 0x8c, 0x33, 0x00, 0x00, 0x60, 0x03,
  0xbf, 0x12, 0x00, 0x40, 0x89, 0xc9, 0x47, 0x9d, 0x17, 0x68, 0x9d, 0x0a, 0x00, 0x40, 0x60, 0x8d,
  0x60, 0x8b, 0x00, 0x7e, 0x8c, 0x3c, 0x00, 0x00, 0x60, 0x03, 0xbf, 0x1b, 0x4b, 0x67, 0xb4, 0xa1,
  0x07, 0x8c, 0x07, 0xae, 0xa9, 0xac, 0xa8, 0x67, 0x8c, 0x07, 0xb4, 0xaf, 0xac, 0xb0, 0x67, 0x9d,
  0xb2, 0xaf, 0xac, 0xaf, 0xa3, 0x67, 0x8c, 0x07, 0xa5, 0xab, 0xaf, 0xb0, 0xf4, 0xae, 0xa9, 0xb2,
  0xb0, 0x7f, 0x0e, 0x27, 0xb4, 0xae, 0xa9, 0xb2, 0xb0, 0x7f, 0x0e, 0x28, 0xb4, 0xae, 0xa9, 0xb2,
  0xb0, 0x64, 0x07, 0xa6, 0xa9, 0x67, 0xaf, 0xb4, 0xaf, 0xa7, 0x78, 0xb4, 0xa5, 0xac, 0x78, 0x7f,
  0x02, 0xad, 0xa5, 0xb2, 0x67, 0xa2, 0xb5, 0xb3, 0xaf, 0xa7, 0xee, 0xb2, 0xb5, 0xb4, 0xa5, 0xb2,
  0x7e, 0x8c, 0x39, 0xb4, 0xb8, 0xa5, 0xae, 0x67, 0xb0, 0xa5, 0xb4, 0xb3, 0x27, 0xaf, 0xb4, 0x07,
  0x9d, 0x19, 0xb2, 0xaf, 0xa6, 0x7f, 0x05, 0x37, 0xb4, 0xb5, 0xb0, 0xae, 0xa9, 0x7f, 0x05, 0x28,
  0xb4, 0xb5, 0xb0, 0xae, 0xa9, 0x7f, 0x05, 0x2a, 0xb4, 0xb5, 0xb0, 0xae, 0xa9, 0xe4, 0xae, 0xa5,
  0x00, 0xff, 0xff, 0x47, 0xa2, 0xa1, 0xb4, 0x7f, 0x0d, 0x30, 0xad, 0xa9, 0xa4, 0x7f, 0x0d, 0x23,
  0xad, 0xa9, 0xa4, 0x67, 0xac, 0xac, 0xa1, 0xa3, 0x00, 0x40, 0x80, 0xc0, 0xc1, 0x80, 0x00, 0x47,
  0x8c, 0x68, 0x8c, 0xdb, 0x67, 0x9b, 0x68, 0x9b, 0x50, 0x8c, 0x63, 0x8c, 0x7f, 0x01, 0x51, 0x07,
  0x88, 0x29, 0x84, 0x80, 0xc4, 0x80, 0x57, 0x71, 0x07, 0x88, 0x14, 0xed, 0xa5, 0xad, 0xaf, 0xac,
  0xed, 0xa5, 0xad, 0xa9, 0xa8, 0xf2, 0xaf, 0xac, 0xaf, 0xa3, 0x71, 0x08, 0x88, 0xae, 0xa5, 0xac,
  0x68, 0x83, 0x08, 0x68, 0x9d, 0x08, 0x71, 0x07, 0x88, 0x60, 0x76, 0xb4, 0xaf, 0xae, 0x76, 0x8d,
  0x76, 0x8b, 0x51, 0x07, 0x88, 0x19, 0xb8, 0xa4, 0xae, 0xb2, 0xf2, 0xb3, 0xb5, 0xf3, 0xa2, 0xa1,
  0xee, 0xa7, 0xb3, 0xe4, 0xae, 0xb2, 0xeb, 0xa5, 0xa5, 0xb0, 0x51, 0x07, 0x88, 0x39, 0x81, 0xc1,
  0x4f, 0x7f, 0x0f, 0x2f, 0x00, 0x51, 0x06, 0x88, 0x29, 0xc2, 0x0c, 0x82, 0x57, 0x8c, 0x6a, 0x8c,
  0x42, 0xae, 0xa5, 0xa8, 0xb4, 0x60, 0xae, 0xa5, 0xa8, 0xb4, 0x4f, 0x7e, 0x1e, 0x35, 0x8c, 0x27,
  0x51, 0x07, 0x88, 0x09, 0x8b, 0xfe, 0xe4, 0xaf, 0xad, 0xf2, 0xaf, 0xe4, 0xae, 0xa1, 0xdc, 0xde,
  0x9c, 0xdd, 0x9c, 0xde, 0xdd, 0x9e, 0xc3, 0xdd, 0xcf, 0xca, 0xcd, 0xcb, 0x00, 0x47, 0x9d, 0xad,
  0xa5, 0xad, 0xaf, 0xac, 0x76, 0x9d, 0xad, 0xa5, 0xad, 0xa9, 0xa8, 0xe6, 0xa6, 0xaf, 0x60, 0x8c,
  0x20, 0xaf, 0xb4, 0xb5, 0xa1, 0xf2, 0xac, 0xa3, 0xf2, 0xa3, 0xb3, 0x60, 0x8c, 0x20, 0xac, 0xa5,
  0xa4, 0xee, 0xb5, 0xb2, 0x60, 0xae, 0xb5, 0xb2, 0xf4, 0xb3, 0xa9, 0xac, 0x60, 0x8c, 0x20, 0xb4,
  0xb3, 0xa9, 0xac, 0x7a, 0x7e, 0x9a, 0x22, 0x20, 0x00, 0x60, 0x03, 0xbf, 0x60, 0x03, 0xbf, 0x1f,
  0x20, 0xb1, 0xe7, 0xe8, 0xe8, 0xb5, 0x4f, 0x85, 0xda, 0xb5, 0x77, 0x85, 0xdb, 0xb4, 0x4e, 0x98,
  0xd5, 0x76, 0xb0, 0x09, 0xb1, 0xda, 0x20, 0xc9, 0xe3, 0xc8, 0x4c, 0x0f, 0xee, 0xa9, 0xff, 0x85,
  0xd5, 0x60, 0xe8, 0xa9, 0x00, 0x95, 0x78, 0x95, 0xa0, 0xb5, 0x77, 0x38, 0xf5, 0x4f, 0x95, 0x50,
  0x4c, 0x23, 0xe8, 0xff, 0x20, 0x15, 0xe7, 0xa5, 0xcf, 0xd0, 0x28, 0xa5, 0xce, 0x60, 0x20, 0x34,
  0xee, 0xa4, 0xc8, 0xc9, 0x30, 0xb0, 0x21, 0xc0, 0x28, 0xb0, 0x1d, 0x60, 0xea, 0xea, 0x20, 0x34,
  0xee, 0x60, 0xea, 0x8a, 0xa2, 0x01, 0xb4, 0xce, 0x94, 0x4c, 0xb4, 0x48, 0x94, 0xca, 0xca, 0xf0,
  0xf5, 0xaa, 0x60, 0xa0, 0x77, 0x4c, 0xe0, 0xe3, 0xa0, 0x7b, 0xd0, 0xf9, 0x20, 0x54, 0xe2, 0xa5,
  0xda, 0xd0, 0x07, 0xa5, 0xdb, 0xd0, 0x03, 0x4c, 0x7e, 0xe7, 0x06, 0xce, 0x26, 0xcf, 0x26, 0xe6,
  0x26, 0xe7, 0xa5, 0xe6, 0xc5, 0xda, 0xa5, 0xe7, 0xe5, 0xdb, 0x90, 0x0a, 0x85, 0xe7, 0xa5, 0xe6,
  0xe5, 0xda, 0x85, 0xe6, 0xe6, 0xce, 0x88, 0xd0, 0xe1, 0x60, 0xff, 0xff, 0xff, 0xff, 0xff, 0xff,
  0x20, 0x15, 0xe7, 0x6c, 0xce, 0x00, 0xa5, 0x4c, 0xd0, 0x02, 0xc6, 0x4d, 0xc6, 0x4c, 0xa5, 0x48,
  0xd0, 0x02, 0xc6, 0x49, 0xc6, 0x48, 0xa0, 0x00, 0xb1, 0x4c, 0x91, 0x48, 0xa5, 0xca, 0xc5, 0x4c,
  0xa5, 0xcb, 0xe5, 0x4d, 0x90, 0xe0, 0x4c, 0x53, 0xee, 0xc9, 0x28, 0xb0, 0x9b, 0xa8, 0xa5, 0xc8,
  0x60, 0xea, 0xea, 0x98, 0xaa, 0xa0, 0x6e, 0x20, 0xc4, 0xe3, 0x8a, 0xa8, 0x20, 0xc4, 0xe3, 0xa0,
  0x72, 0x4c, 0xc4, 0xe3, 0x20, 0x15, 0xe7, 0x06, 0xce, 0x26, 0xcf, 0x30, 0xfa, 0xb0, 0xdc, 0xd0,
  0x04, 0xc5, 0xce, 0xb0, 0xd6, 0x60, 0x20, 0x15, 0xe7, 0xb1, 0xce, 0x94, 0x9f, 0x4c, 0x08, 0xe7,
  0x20, 0x34, 0xee, 0xa5, 0xce, 0x48, 0x20, 0x15, 0xe7, 0x68, 0x91, 0xce, 0x60, 0xff, 0xff, 0xff,
  0x20, 0x6c, 0xee, 0xa5, 0xce, 0x85, 0xe6, 0xa5, 0xcf, 0x85, 0xe7, 0x4c, 0x44, 0xe2, 0x20, 0xe4,
  0xee, 0x4c, 0x34, 0xe1, 0x20, 0xe4, 0xee, 0xb4, 0x78, 0xb5, 0x50, 0x69, 0xfe, 0xb0, 0x01, 0x88,
  0x85, 0xda, 0x84, 0xdb, 0x18, 0x65, 0xce, 0x95, 0x50, 0x98, 0x65, 0xcf, 0x95, 0x78, 0xa0, 0x00,
  0xb5, 0x50, 0xd1, 0xda, 0xc8, 0xb5, 0x78, 0xf1, 0xda, 0xb0, 0x80, 0x4c, 0x23, 0xe8, 0x20, 0x15,
  0xe7, 0xa5, 0x4e, 0x20, 0x08, 0xe7, 0xa5, 0x4f, 0xd0, 0x04, 0xc5, 0x4e, 0x69, 0x00, 0x29, 0x7f,
  0x85, 0x4f, 0x95, 0xa0, 0xa0, 0x11, 0xa5, 0x4f, 0x0a, 0x18, 0x69, 0x40, 0x0a, 0x26, 0x4e, 0x26,
  0x4f, 0x88, 0xd0, 0xf2, 0xa5, 0xce, 0x20, 0x08, 0xe7, 0xa5, 0xcf, 0x95, 0xa0, 0x4c, 0x7a, 0xe2,
  0x20, 0x15, 0xe7, 0xa4, 0xce, 0xc4, 0x4c, 0xa5, 0xcf, 0xe5, 0x4d, 0x90, 0x1f, 0x84, 0x48, 0xa5,
  0xcf, 0x85, 0x49, 0x4c, 0xb6, 0xee, 0x20, 0x15, 0xe7, 0xa4, 0xce, 0xc4, 0xca, 0xa5, 0xcf, 0xe5,
  0xcb, 0xb0, 0x09, 0x84, 0x4a, 0xa5, 0xcf, 0x85, 0x4b, 0x4c, 0xb7, 0xe5, 0x4c, 0xcb, 0xee, 0xea,
  0xea, 0xea, 0xea, 0x20, 0xc9, 0xef, 0x20, 0x71, 0xe1, 0x4c, 0xbf, 0xef, 0x20, 0x03, 0xee, 0xa9,
  0xff, 0x85, 0xc8, 0xa9, 0x74, 0x8d, 0x00, 0x02, 0x60, 0x20, 0x36, 0xe7, 0xe8, 0x20, 0x36, 0xe7,
  0xb5, 0x50, 0x60, 0xa9, 0x00, 0x85, 0x4a, 0x85, 0x4c, 0xa9, 0x08, 0x85, 0x4b, 0xa9, 0x10, 0x85,
  0x4d, 0x4c, 0xad, 0xe5, 0xd5, 0x78, 0xd0, 0x01, 0x18, 0x4c, 0x02, 0xe1, 0x20, 0xb7, 0xe5, 0x4c,
  0x36, 0xe8, 0x20, 0xb7, 0xe5, 0x4c, 0x5b, 0xe8, 0xe0, 0x80, 0xd0, 0x01, 0x88, 0x4c, 0x0c, 0xe0
};
static uint8_t ram[RAM_SIZE];

static uint8_t uartRxBuffer[UART_RX_BUFFER_SIZE];

static volatile uint16_t indexToReadFrom = 0;
static volatile uint16_t indexToWriteTo = 0;
static uint8_t circularBuffer[CIRCULAR_BUFFER_SIZE];
/* USER CODE END PV */

void SystemClock_Config(void);
static void MX_GPIO_Init(void);
static void MX_USART1_UART_Init(void);
/* USER CODE BEGIN PFP */
extern void reset6502();
//extern void exec6502(uint32_t tickcount);
extern void step6502();
extern void irq6502();
extern void nmi6502();
/* USER CODE END PFP */

/* USER CODE BEGIN 0 */
uint8_t read6502(uint16_t address)
{
	if (address >= ROM_BASE_ADDRESS) {
		return hexMonitorRom[address - ROM_BASE_ADDRESS];
	} else if (address >= BASIC_ROM_BASE_ADDRESS && address < BASIC_ROM_BASE_ADDRESS + sizeof(basicRom)) {
		return basicRom[address - BASIC_ROM_BASE_ADDRESS];
	} else if (address < RAM_SIZE) {
		return ram[address];
	} else if (address == KBD_DATA_PORT_ADDRESS) {
		if (indexToReadFrom != indexToWriteTo) {
			uint8_t value = circularBuffer[indexToReadFrom++];
			if (indexToReadFrom >= CIRCULAR_BUFFER_SIZE) {
				indexToReadFrom = 0;
			}
			return 0x80 | value;
		} else {
			return 0x00;
		}
	} else if (address == KBD_CONTROL_REGISTER_PORT_ADDRESS) {
		if (indexToReadFrom != indexToWriteTo) {
			return 0x80;
		} else {
			return 0x00;
		}
		/*if (isUartDataReceived) {
			return 0x80;
		} else {
			return 0x00;
		}*/
	} else {
		// TBD
		return 0x00;
	}
}

void write6502(uint16_t address, uint8_t value)
{
	if (address < RAM_SIZE) {
		ram[address] = value;
	} else if (address == DSP_DATA_PORT_ADDRESS) {
		uint8_t character = value & 0x7f;
		if (character == '\r') {
			uint8_t nl = '\n';
			HAL_UART_Transmit(&huart1, &nl, 1, 1000);
		}
		HAL_UART_Transmit(&huart1, &character, 1, 1000);
	} else if (address == DSP_CONTROL_REGISTER_PORT_ADDRESS) {
		value += 0;
		// TBD
	}
}

void HAL_UART_RxCpltCallback(UART_HandleTypeDef *huart)
{
	HAL_UART_Receive_IT(&huart1, uartRxBuffer, 1);
	circularBuffer[indexToWriteTo++] = uartRxBuffer[0];
	if (indexToWriteTo >= CIRCULAR_BUFFER_SIZE) {
		indexToWriteTo = 0;
	}
}
/* USER CODE END 0 */

int main(void)
{

  /* MCU Configuration--------------------------------------------------------*/

  /* Reset of all peripherals, Initializes the Flash interface and the Systick. */
  HAL_Init();

  /* Configure the system clock */
  SystemClock_Config();

  /* Initialize all configured peripherals */
  MX_GPIO_Init();
  MX_USART1_UART_Init();

  /* Infinite loop */
  /* USER CODE BEGIN WHILE */
  HAL_UART_Receive_IT(&huart1, uartRxBuffer, 1);

  reset6502();
  while (1)
  {
    /* USER CODE END WHILE */

    /* USER CODE BEGIN 3 */
	  step6502();
  }
  /* USER CODE END 3 */
}

void SystemClock_Config(void)
{
  RCC_OscInitTypeDef RCC_OscInitStruct = {0};
  RCC_ClkInitTypeDef RCC_ClkInitStruct = {0};
  RCC_PeriphCLKInitTypeDef PeriphClkInit = {0};

  /** Initializes the RCC Oscillators according to the specified parameters
  * in the RCC_OscInitTypeDef structure.
  */
  RCC_OscInitStruct.OscillatorType = RCC_OSCILLATORTYPE_HSI;
  RCC_OscInitStruct.HSIState = RCC_HSI_ON;
  RCC_OscInitStruct.HSICalibrationValue = RCC_HSICALIBRATION_DEFAULT;
  RCC_OscInitStruct.PLL.PLLState = RCC_PLL_ON;
  RCC_OscInitStruct.PLL.PLLSource = RCC_PLLSOURCE_HSI;
  RCC_OscInitStruct.PLL.PLLMUL = RCC_PLL_MUL12;
  RCC_OscInitStruct.PLL.PREDIV = RCC_PREDIV_DIV1;
  if (HAL_RCC_OscConfig(&RCC_OscInitStruct) != HAL_OK)
  {
    Error_Handler();
  }

  /** Initializes the CPU, AHB and APB buses clocks
  */
  RCC_ClkInitStruct.ClockType = RCC_CLOCKTYPE_HCLK|RCC_CLOCKTYPE_SYSCLK
                              |RCC_CLOCKTYPE_PCLK1;
  RCC_ClkInitStruct.SYSCLKSource = RCC_SYSCLKSOURCE_PLLCLK;
  RCC_ClkInitStruct.AHBCLKDivider = RCC_SYSCLK_DIV1;
  RCC_ClkInitStruct.APB1CLKDivider = RCC_HCLK_DIV1;

  if (HAL_RCC_ClockConfig(&RCC_ClkInitStruct, FLASH_LATENCY_1) != HAL_OK)
  {
    Error_Handler();
  }
  PeriphClkInit.PeriphClockSelection = RCC_PERIPHCLK_USART1;
  PeriphClkInit.Usart1ClockSelection = RCC_USART1CLKSOURCE_PCLK1;
  if (HAL_RCCEx_PeriphCLKConfig(&PeriphClkInit) != HAL_OK)
  {
    Error_Handler();
  }
}

static void MX_USART1_UART_Init(void)
{

  huart1.Instance = USART1;
  huart1.Init.BaudRate = 1200;
  huart1.Init.WordLength = UART_WORDLENGTH_8B;
  huart1.Init.StopBits = UART_STOPBITS_1;
  huart1.Init.Parity = UART_PARITY_NONE;
  huart1.Init.Mode = UART_MODE_TX_RX;
  huart1.Init.HwFlowCtl = UART_HWCONTROL_NONE;
  huart1.Init.OverSampling = UART_OVERSAMPLING_16;
  huart1.Init.OneBitSampling = UART_ONE_BIT_SAMPLE_DISABLE;
  huart1.AdvancedInit.AdvFeatureInit = UART_ADVFEATURE_NO_INIT;
  if (HAL_UART_Init(&huart1) != HAL_OK)
  {
    Error_Handler();
  }

}

static void MX_GPIO_Init(void)
{
  GPIO_InitTypeDef GPIO_InitStruct = {0};

  /* GPIO Ports Clock Enable */
  __HAL_RCC_GPIOA_CLK_ENABLE();
  __HAL_RCC_GPIOC_CLK_ENABLE();

  /*Configure GPIO pin Output Level */
  HAL_GPIO_WritePin(GPIOC, LD4_Pin|LD3_Pin, GPIO_PIN_RESET);

  /*Configure GPIO pin : B1_Pin */
  GPIO_InitStruct.Pin = B1_Pin;
  GPIO_InitStruct.Mode = GPIO_MODE_EVT_RISING;
  GPIO_InitStruct.Pull = GPIO_NOPULL;
  HAL_GPIO_Init(B1_GPIO_Port, &GPIO_InitStruct);

  /*Configure GPIO pins : LD4_Pin LD3_Pin */
  GPIO_InitStruct.Pin = LD4_Pin|LD3_Pin;
  GPIO_InitStruct.Mode = GPIO_MODE_OUTPUT_PP;
  GPIO_InitStruct.Pull = GPIO_NOPULL;
  GPIO_InitStruct.Speed = GPIO_SPEED_FREQ_LOW;
  HAL_GPIO_Init(GPIOC, &GPIO_InitStruct);

}

void Error_Handler(void)
{
  __disable_irq();
  while (1)
  {
  }
}
